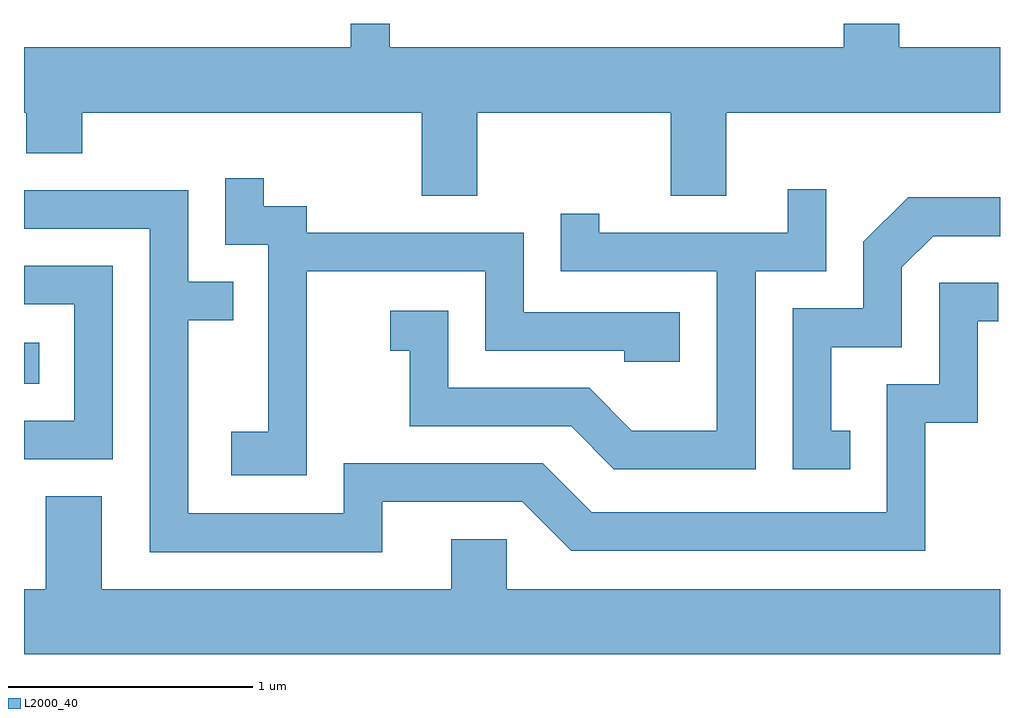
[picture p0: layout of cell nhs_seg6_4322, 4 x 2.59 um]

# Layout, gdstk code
import gdstk
lib = gdstk.Library(unit=1e-6, precision=1e-09)
def R(c, l, rs):  # rectangles x0, y0, x1, y1
    for r in rs: c.add(gdstk.rectangle(r[:2], r[2:], *l))
def P(c, l, *ps):  # polygons
    for p in ps: c.add(gdstk.Polygon(p, *l))
L2000_40 = (2000, 40)

nhs_seg6_4322 = lib.new_cell('nhs_seg6_4322')
R(nhs_seg6_4322, L2000_40, [(317.611,1566.686,317.673,1566.854)])
P(nhs_seg6_4322, L2000_40, [(319.469,1567.796),(320.261,1567.796),(320.261,1567.456),(320.489,1567.456),(320.489,1567.796),(321.611,1567.796),(321.611,1568.064),(321.199,1568.064),(321.199,1568.162),(320.971,1568.162),(320.971,1568.064),(319.109,1568.064),(319.109,1568.162),(318.951,1568.162),(318.951,1568.064),(317.611,1568.064),(317.611,1567.796),(317.621,1567.796),(317.621,1567.631),(317.849,1567.631),(317.849,1567.796),(319.241,1567.796),(319.241,1567.456),(319.469,1567.456)],
  [(318.769,1567.146),(319.501,1567.146),(319.501,1566.821),(320.071,1566.821),(320.071,1566.776),(320.299,1566.776),(320.299,1566.979),(319.659,1566.979),(319.659,1567.304),(318.769,1567.304),(318.769,1567.414),(318.594,1567.414),(318.594,1567.528),(318.436,1567.528),(318.436,1567.256),(318.611,1567.256),(318.611,1566.489),(318.461,1566.489),(318.461,1566.311),(318.769,1566.311)],
  [(320.609,1567.146),(320.899,1567.146),(320.899,1567.483),(320.741,1567.483),(320.741,1567.304),(319.969,1567.304),(319.969,1567.383),(319.811,1567.383),(319.811,1567.146),(320.451,1567.146),(320.451,1566.494),(320.102,1566.494),(319.927,1566.669),(319.349,1566.669),(319.349,1566.984),(319.113,1566.984),(319.113,1566.821),(319.191,1566.821),(319.191,1566.511),(319.854,1566.511),(320.029,1566.336),(320.609,1566.336)],
  [(319.079,1566.201),(319.654,1566.201),(319.854,1566.001),(321.304,1566.001),(321.304,1566.526),(321.519,1566.526),(321.519,1566.941),(321.603,1566.941),(321.603,1567.099),(321.361,1567.099),(321.361,1566.684),(321.146,1566.684),(321.146,1566.159),(319.937,1566.159),(319.737,1566.359),(318.921,1566.359),(318.921,1566.154),(318.284,1566.154),(318.284,1566.946),(318.468,1566.946),(318.468,1567.104),(318.284,1567.104),(318.284,1567.479),(317.611,1567.479),(317.611,1567.321),(318.126,1567.321),(318.126,1565.996),(319.079,1565.996)],
  [(320.998,1566.494),(320.919,1566.494),(320.919,1566.836),(321.209,1566.836),(321.209,1567.164),(321.337,1567.291),(321.611,1567.291),(321.611,1567.449),(321.234,1567.449),(321.051,1567.267),(321.051,1566.994),(320.761,1566.994),(320.761,1566.336),(320.998,1566.336)],
  [(317.974,1567.169),(317.611,1567.169),(317.611,1567.011),(317.816,1567.011),(317.816,1566.534),(317.611,1566.534),(317.611,1566.376),(317.974,1566.376)],
  [(321.611,1565.844),(319.589,1565.844),(319.589,1566.049),(319.361,1566.049),(319.361,1565.844),(317.929,1565.844),(317.929,1566.224),(317.701,1566.224),(317.701,1565.844),(317.611,1565.844),(317.611,1565.576),(321.611,1565.576)])

lib.write_gds('nhs_seg6_4322.gds')
